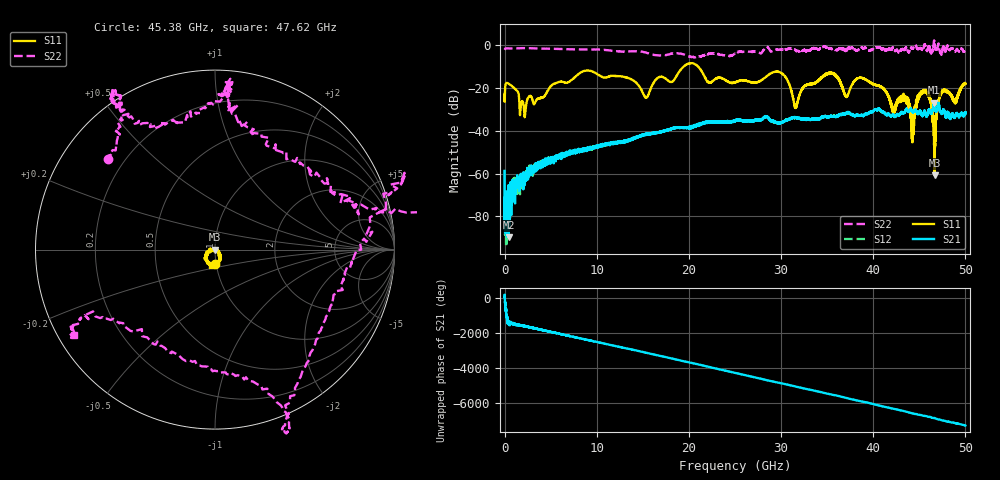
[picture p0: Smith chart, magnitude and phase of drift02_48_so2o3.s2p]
!Created with skrf (http://scikit-rf.org).
# Hz S RI R 50.0
!freq ReS11 ImS11 ReS21 ImS21 ReS12 ImS12 ReS22 ImS22
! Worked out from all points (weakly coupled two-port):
!   10001 points, 300 kHz to 50 GHz, reference 50 ohm
!   highest |S21| = -26.81 dB at 46.61 GHz (marker M1); lowest = -89.9 dB at 440.3 MHz (marker M2)
!   lowest |S11| = -60.8 dB at 46.67 GHz (marker M3), VSWR 1.00, Z = 50 - j0.0776 ohm
!   |S11| at or under -10 dB: start of sweep to 19.42 GHz; 21.01 GHz to end of sweep
!   |S22| runs from -5.7 to 2.3 dB; largest |S21 - S12| = 0.0033
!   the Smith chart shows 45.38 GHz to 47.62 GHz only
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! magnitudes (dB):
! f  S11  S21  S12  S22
! 300 kHz  -22.7  -58.8  -59.7  -2.1
! 440.3 MHz  -18.0  -89.9  -73.0  -1.5
! 2.18 GHz  -33.5  -60.0  -62.7  -1.3
! 8.335 GHz  -12.5  -49.3  -49.6  -1.9
! 15.34 GHz  -24.5  -41.7  -41.7  -3.4
! 16.67 GHz  -15.1  -40.7  -40.8  -4.7
! 20.3 GHz  -8.4  -38.2  -38.1  -5.5
! 25 GHz  -17.4  -35.5  -35.1  -3.9
! 29.83 GHz  -12.6  -36.4  -36.4  -2.0
! 31.59 GHz  -29.0  -33.7  -34.0  -2.4
! 33.34 GHz  -18.1  -34.4  -34.4  -1.6
! 35.61 GHz  -13.2  -33.1  -33.1  -1.6
! 37.1 GHz  -24.2  -31.6  -31.6  -2.3
! 38.75 GHz  -15.2  -32.6  -32.7  -1.0
! 41.67 GHz  -24.0  -32.1  -32.2  -2.0
! 43.52 GHz  -25.0  -30.4  -30.4  -1.2
! 44.29 GHz  -39.8  -31.1  -31.2  -1.5
! 45.69 GHz  -21.7  -32.3  -32.1  -0.7
! 46.61 GHz  -46.5  -26.8  -26.8  2.3
! 46.67 GHz  -60.8  -28.8  -28.6  0.3
! 47.46 GHz  -21.7  -31.8  -31.9  -3.7
! 50 GHz  -18.0  -31.3  -31.3  -2.7
